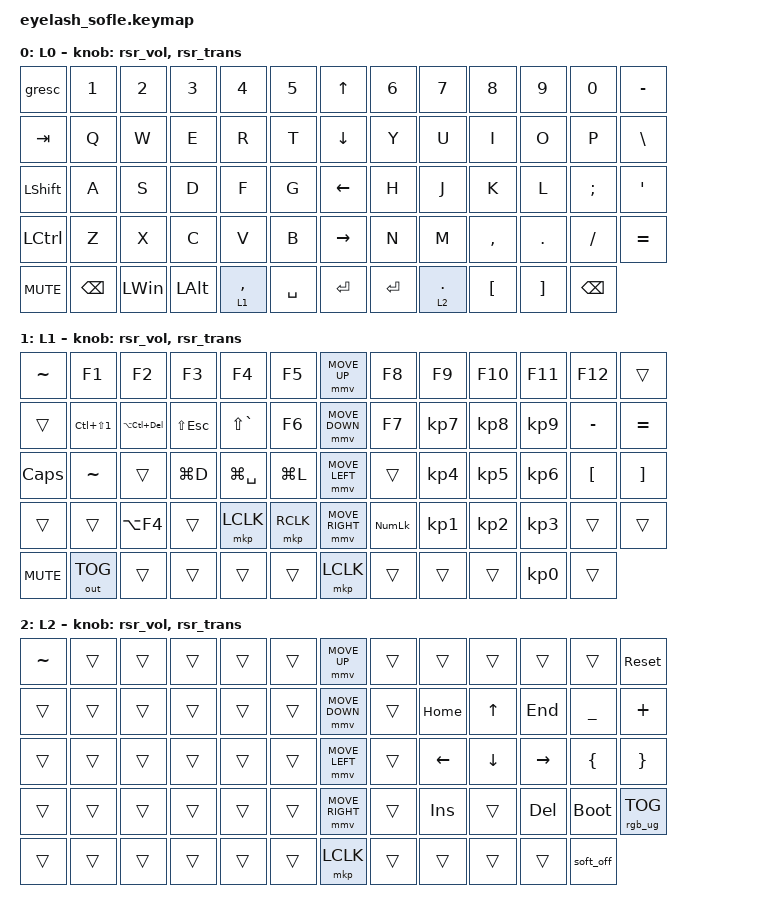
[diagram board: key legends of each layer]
#include <input/processors.dtsi>
#include <zephyr/dt-bindings/input/input-event-codes.h>
#include <behaviors.dtsi>
#include <dt-bindings/zmk/bt.h>
#include <dt-bindings/zmk/keys.h>
#include <dt-bindings/zmk/outputs.h>
#include <dt-bindings/zmk/pointing.h>
#include <dt-bindings/zmk/rgb.h>
#include <behaviors/runtime-sensor-rotate.dtsi>

/ {
    zip_scroll_scaler: zip_scroll_scaler {
        compatible = "zmk,input-processor-scaler";
        #input-processor-cells = <2>;
        type = <INPUT_EV_REL>;
        codes = <INPUT_REL_WHEEL INPUT_REL_HWHEEL>;
        track-remainders;
    };
};

&mmv_input_listener { input-processors = <&zip_xy_scaler 2 1>; };

&msc_input_listener { input-processors = <&zip_scroll_scaler 2 1>; };

&lt {
    tapping-term-ms = <100>;
    flavor = "hold-preferred";
};

&msc {
    acceleration-exponent = <0>;      // 0
    time-to-max-speed-ms = <0>;       // 300
    delay-ms = <0>;                   // 0
};

&mmv {
    time-to-max-speed-ms = <400>;
    acceleration-exponent = <1>;
};

&soft_off { hold-time-ms = <2000>; };

/ {
    behaviors {
        rsr_vol: rsr_vol {
            compatible = "zmk,behavior-runtime-sensor-rotate";
            #sensor-binding-cells = <0>;
            tap-ms = <5>;
            cw-binding = <&kp C_VOL_UP>;
            ccw-binding = <&kp C_VOL_DN>;
        };

        rsr_trans: rsr_trans {
            compatible = "zmk,behavior-runtime-sensor-rotate";
            #sensor-binding-cells = <0>;
            tap-ms = <0>;
        };
    };

    macros {
        shift_MB3: shift_MB3 {
            compatible = "zmk,behavior-macro";
            #binding-cells = <0>;
            bindings =
                <&macro_press>,
                <&kp LEFT_SHIFT>,
                <&macro_press>,
                <&mkp MB3>,
                <&macro_pause_for_release>,
                <&macro_release>,
                <&mkp MB3 &kp LEFT_SHIFT>;

            label = "SHIFT_MB3";
        };
    };

    combos {
        compatible = "zmk,combos";

        softoff {
            bindings = <&soft_off>;
            key-positions = <14 28 40>;
        };
    };

    keymap {
        compatible = "zmk,keymap";

        layer0 {
            bindings = <
&gresc          &kp N1         &kp N2    &kp N3        &kp N4       &kp N5       &kp UP_ARROW     &kp N6     &kp N7        &kp N8            &kp N9             &kp N0         &kp MINUS
&kp TAB         &kp Q          &kp W     &kp E         &kp R        &kp T        &kp DOWN_ARROW   &kp Y      &kp U         &kp I             &kp O              &kp P          &kp BSLH
&kp LEFT_SHIFT  &kp A          &kp S     &kp D         &kp F        &kp G        &kp LEFT_ARROW   &kp H      &kp J         &kp K             &kp L              &kp SEMI       &kp APOS
&kp LCTRL       &kp Z          &kp X     &kp C         &kp V        &kp B        &kp RIGHT_ARROW  &kp N      &kp M         &kp COMMA         &kp DOT            &kp FSLH       &kp EQUAL
&kp C_MUTE      &kp BACKSPACE  &kp LWIN  &kp LEFT_ALT  &lt 1 COMMA  &kp SPACE    &kp ENTER        &kp ENTER  &lt 2 PERIOD  &kp LEFT_BRACKET  &kp RIGHT_BRACKET  &kp BACKSPACE
            >;
            sensor-bindings = <&rsr_vol &rsr_trans>;

            display-name = "L0";
        };

        layer_1 {
            bindings = <
&kp TILDE     &kp F1                &kp F2           &kp F3          &kp F4         &kp F5       &mmv MOVE_UP     &kp F8          &kp F9           &kp F10          &kp F11          &kp F12           &trans
&trans        &kp LC(LS(NUMBER_1))  &kp LA(LC(DEL))  &kp LS(ESCAPE)  &kp LS(GRAVE)  &kp F6       &mmv MOVE_DOWN   &kp F7          &kp KP_NUMBER_7  &kp KP_NUMBER_8  &kp KP_NUMBER_9  &kp MINUS         &kp EQUAL
&kp CAPSLOCK  &kp TILDE             &trans           &kp LG(D)       &kp LG(SPACE)  &kp LG(L)    &mmv MOVE_LEFT   &trans          &kp KP_NUMBER_4  &kp KP_NUMBER_5  &kp KP_NUMBER_6  &kp LEFT_BRACKET  &kp RIGHT_BRACKET
&trans        &trans                &kp LA(F4)       &trans          &mkp LCLK      &mkp RCLK    &mmv MOVE_RIGHT  &kp KP_NUMLOCK  &kp KP_NUMBER_1  &kp KP_NUMBER_2  &kp KP_NUMBER_3  &trans            &trans
&kp C_MUTE    &out OUT_TOG          &trans           &trans          &trans         &trans       &mkp LCLK        &trans          &trans           &trans           &kp KP_NUMBER_0  &trans
            >;

            display-name = "L1";
            sensor-bindings = <&rsr_vol &rsr_trans>;

        };

        layer_2 {
            bindings = <
&kp TILDE  &trans  &trans  &trans  &trans  &trans    &mmv MOVE_UP     &trans  &trans      &trans        &trans      &trans       &sys_reset
&trans     &trans  &trans  &trans  &trans  &trans    &mmv MOVE_DOWN   &trans  &kp HOME    &kp UP_ARROW  &kp END     &kp UNDER    &kp PLUS
&trans     &trans  &trans  &trans  &trans  &trans    &mmv MOVE_LEFT   &trans  &kp LEFT    &kp DOWN      &kp RIGHT   &kp LBRC     &kp RBRC
&trans     &trans  &trans  &trans  &trans  &trans    &mmv MOVE_RIGHT  &trans  &kp INSERT  &trans        &kp DELETE  &bootloader  &rgb_ug RGB_TOG
&trans     &trans  &trans  &trans  &trans  &trans    &mkp LCLK        &trans  &trans      &trans        &trans      &soft_off
            >;
             display-name = "L2";
            sensor-bindings = <&rsr_vol &rsr_trans>;
        };
    };
};
